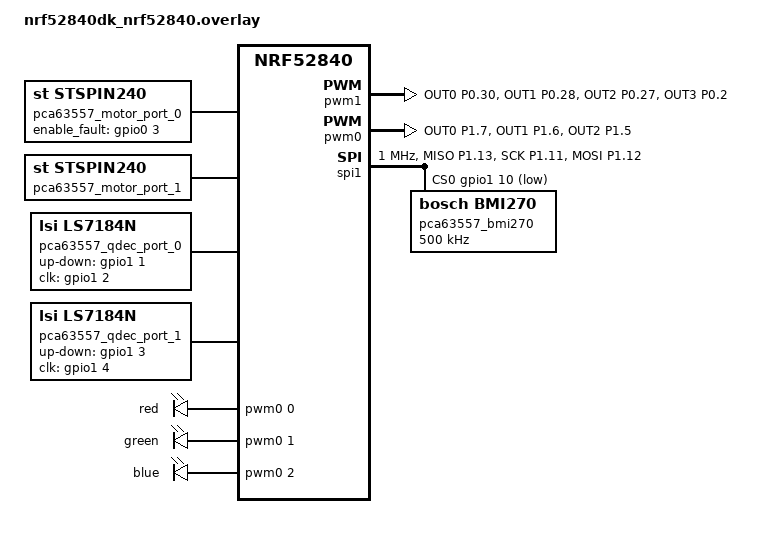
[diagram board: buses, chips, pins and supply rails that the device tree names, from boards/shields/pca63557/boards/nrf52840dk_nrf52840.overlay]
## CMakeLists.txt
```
#
# Copyright (c) 2019 Nordic Semiconductor
#
# SPDX-License-Identifier: LicenseRef-Nordic-5-Clause
#

cmake_minimum_required(VERSION 3.20.0)

if(EXISTS "${CMAKE_CURRENT_SOURCE_DIR}/dev_options.conf")
    message(WARNING "Using dev_options.conf. Ensure any critical settings are moved to prj.conf before committing to source control.")
    list(APPEND CONF_FILE "${CMAKE_CURRENT_SOURCE_DIR}/dev_options.conf")
endif()

list(APPEND BOARD_ROOT "${CMAKE_CURRENT_SOURCE_DIR}")
find_package(Zephyr REQUIRED HINTS $ENV{ZEPHYR_BASE})
project(robotics_shield_demo)

# Include application application event headers
zephyr_library_include_directories(src/events)

# NORDIC SDK APP START
target_sources(app PRIVATE 
    src/main.c
)

include_directories(
    src
)

add_subdirectory(drivers)
# NORDIC SDK APP END
```

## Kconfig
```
#
# Copyright (c) 2021 Nordic Semiconductor ASA
#
# SPDX-License-Identifier: LicenseRef-Nordic-5-Clause
#

menu "Robotics shield demo"

rsource "drivers/tb6612fng/Kconfig"
rsource "drivers/stspin240/Kconfig"
rsource "drivers/ls7184n/Kconfig"

endmenu

menu "Zephyr Kernel"
source "Kconfig.zephyr"
endmenu

module = APPLICATION_MODULE
module-str = Application module
source "subsys/logging/Kconfig.template.log_config"
```

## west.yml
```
manifest:
  version: "0.12"
  remotes:
      # nRF Connect SDK base URL.
    - name: ncs
      url-base: https://github.com/nrfconnect
  # The list of external projects for the nRF Connect SDK.
  #
  projects:
    - name: nrf
      remote: ncs
      repo-path: sdk-nrf
      revision: v2.3.0
      import: true

  self:
    path: robot_shield_demo
```

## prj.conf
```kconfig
#
# Copyright (c) 2019 Nordic Semiconductor ASA
#
# SPDX-License-Identifier: LicenseRef-Nordic-5-Clause
#


# Logger configuration
CONFIG_LOG=y
CONFIG_LOG_DEFAULT_LEVEL=4
CONFIG_LOG_BACKEND_UART=y
CONFIG_SENSOR_LOG_LEVEL_DBG=y
CONFIG_SPI=y

# Configuration required by Application Event Manager
CONFIG_APP_EVENT_MANAGER=y
# CONFIG_HEAP_MEM_POOL_SIZE=2048
# CONFIG_REBOOT=y

# Memory
CONFIG_MAIN_STACK_SIZE=4096
CONFIG_HEAP_MEM_POOL_SIZE=2048

# NewLib C
CONFIG_NEWLIB_LIBC=y

CONFIG_DEBUG_OPTIMIZATIONS=y
CONFIG_DEBUG_THREAD_INFO=y


# PWM
CONFIG_PWM=y
CONFIG_GPIO=y

# Motors
CONFIG_STSPIN240=y

# QDECs
CONFIG_LS7184N=y

# Leds
CONFIG_LED=y
CONFIG_LED_PWM=y

# BMI270 IMU 
CONFIG_SPI=y
CONFIG_SENSOR=y
CONFIG_BMI270=y


CONFIG_SETTINGS=y
CONFIG_HWINFO=y

CONFIG_SYSTEM_WORKQUEUE_STACK_SIZE=2048
CONFIG_FLASH=y
CONFIG_FLASH_MAP=y
CONFIG_NVS=y
CONFIG_SETTINGS=y
CONFIG_HWINFO=y
CONFIG_DK_LIBRARY=y
CONFIG_PARTITION_MANAGER_ENABLED=y
CONFIG_PM_SINGLE_IMAGE=y
CONFIG_PM_PARTITION_SIZE_SETTINGS_STORAGE=0x8000
CONFIG_PM_DEVICE=y
```

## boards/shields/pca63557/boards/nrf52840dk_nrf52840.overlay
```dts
&uart1 {
    status = "disabled";
};

&spi3 {
    status = "disabled";
};

&spi2 {
    status = "disabled";
};

&i2c0 {
    status = "disabled";
};

&i2c1 {
    status = "disabled";
};

&pinctrl {
    pwm1_default_alt: pwm1_default_alt {
        group1 {
            psels = <NRF_PSEL(PWM_OUT0, 0, 30)>,
                    <NRF_PSEL(PWM_OUT1, 0, 28)>,
                    <NRF_PSEL(PWM_OUT2, 0, 27)>,
                    <NRF_PSEL(PWM_OUT3, 0, 2)>;
        };
    };
    pwm1_sleep_alt: pwm1_sleep_alt {
        group1 {
            psels = <NRF_PSEL(PWM_OUT0, 0, 30)>,
                    <NRF_PSEL(PWM_OUT1, 0, 28)>,
                    <NRF_PSEL(PWM_OUT2, 0, 27)>,
                    <NRF_PSEL(PWM_OUT3, 0, 2)>;
            low-power-enable;
        };
    };

    pwm0_default_alt: pwm0_default_alt {
        group1 {
            psels = <NRF_PSEL(PWM_OUT0, 1, 7)>,
                    <NRF_PSEL(PWM_OUT1, 1, 6)>,
                    <NRF_PSEL(PWM_OUT2, 1, 5)>;
        };
    };
    pwm0_sleep_alt: pwm0_sleep_alt {
        group1 {
            psels = <NRF_PSEL(PWM_OUT0, 1, 7)>,
                    <NRF_PSEL(PWM_OUT1, 1, 6)>,
                    <NRF_PSEL(PWM_OUT2, 1, 5)>;
            low-power-enable;
        };
    };

    bmi270_bus_default: bmi270_bus_default {
            group1 {
                    psels = <NRF_PSEL(SPIM_MISO, 1, 13)>,
                                       <NRF_PSEL(SPIM_SCK, 1, 11)>,
                                       <NRF_PSEL(SPIM_MOSI, 1, 12)>;
            };
    };
    bmi270_bus_sleep: bmi270_bus_sleep {
            group1 {
                    psels = <NRF_PSEL(SPIM_MISO, 1, 13)>,
                                       <NRF_PSEL(SPIM_SCK, 1, 11)>,
                                       <NRF_PSEL(SPIM_MOSI, 1, 12)>;
                    low-power-enable;
            };
    };
};

&pwm1 {
    status = "okay";
    pinctrl-0 = <&pwm1_default_alt>;
    pinctrl-1 = <&pwm1_sleep_alt>;
    pinctrl-names = "default", "sleep";
};

&pwm0 {
    status = "okay";
    pinctrl-0 = <&pwm0_default_alt>;
    pinctrl-1 = <&pwm0_sleep_alt>;
    pinctrl-names = "default", "sleep";
};

/{
    pca63557_motor_port_0: pca63557_motor_port_0 {
        compatible = "st,stspin240";
        status = "okay";
        enable_fault-gpios = <&gpio0 3 0>;

        motor_a {
            compatible = "st,stspin240-motor";
            status = "okay";
            pwms = <&pwm1 0 PWM_HZ(50) PWM_POLARITY_NORMAL>;
            phase-gpios = <&gpio0 29 0>;
        };

        motor_b {
            compatible = "st,stspin240-motor";
            status = "okay";
            pwms = <&pwm1 1 PWM_HZ(50) PWM_POLARITY_NORMAL>;
            phase-gpios = <&gpio0 4 0>;
        };
    };

    pca63557_motor_port_1: pca63557_motor_port_1 {
        compatible = "st,stspin240";
        status = "okay";

        motor_a {
            compatible = "st,stspin240-motor";
            status = "okay";
            pwms = <&pwm1 2 PWM_HZ(50) PWM_POLARITY_NORMAL>;
            phase-gpios = <&gpio0 26 0>;
        };

        motor_b {
            compatible = "st,stspin240-motor";
            status = "okay";
            pwms = <&pwm1 3 PWM_HZ(50) PWM_POLARITY_NORMAL>;
            phase-gpios = <&gpio1 15 0>;
        };
    };

    pca63557_qdec_port_0: pca63557_qdec_port_0 {
        compatible = "lsi,ls7184n";
        status = "okay";
        up-down-gpios = <&gpio1 1 0>;
        clk-gpios = <&gpio1 2 0>;
    };

    pca63557_qdec_port_1: pca63557_qdec_port_1 {
        compatible = "lsi,ls7184n";
        status = "okay";
        up-down-gpios = <&gpio1 3 0>;
        clk-gpios = <&gpio1 4 0>;
    };

    pca63557_pwmleds: pca63557_pwmleds {
        compatible = "pwm-leds";
        red {
            pwms = <&pwm0 0 PWM_HZ(120) PWM_POLARITY_NORMAL>;
        };
        green {
            pwms = <&pwm0 1 PWM_HZ(120) PWM_POLARITY_NORMAL>;
        };
        blue {
            pwms = <&pwm0 2 PWM_HZ(120) PWM_POLARITY_NORMAL>;
        };
    };

};

&spi1 {
    // status = "disabled";
    status = "okay";
    cs-gpios = <&gpio1 10 GPIO_ACTIVE_LOW>;
    clock-frequency = <DT_FREQ_M(1)>;
    pinctrl-0 = <&bmi270_bus_default>;
    pinctrl-1 = <&bmi270_bus_sleep>;
    pinctrl-names = "default", "sleep";

    pca63557_bmi270: pca63557_bmi270@0 {
        compatible = "bosch,bmi270";
        reg = <0>;
        spi-max-frequency = <DT_FREQ_K(500)>; // 10 MHz
    };
};
```

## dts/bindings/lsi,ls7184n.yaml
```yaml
compatible: "lsi,ls7184n"
description: "Quadrature decoder"

include: "base.yaml"

properties:
  clk-gpios: 
    type: phandle-array
    required: true
  up-down-gpios: 
    type: phandle-array
    required: true
  resolution:
    type: int
    required: false
    description: |
      Resolution of the encoder. Can be set in code by setting SENSOR_ATTR_SAMPLING_FREQUENCY on the device in software. 
```

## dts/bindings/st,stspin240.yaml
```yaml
# Bindings for STMicroelectronics STSPIN240 dual brushed dc driver

compatible: "st,stspin240"
description: |
  Dual brushed DC motor driver. Expects all child nodes to be motors controled by the driver 
  (compatible = st,stspin240-motor).


include: "base.yaml"

properties:
  enable_fault-gpios: 
    type: phandle-array
    required: false
    description: "Enables the device when set high, indicates fault when pulled low by the driver IC"
  
  standby_reset-gpios:
    type: phandle-array
    required: false
    description: "Forces device into low consumption mode when forced low."
  
child-binding:
  compatible: "st,stspin240-motor"
  description: Brushed DC Motor driven by stspin240

  include: "base.yaml"

  properties:
    pwms:
      type: phandle-array
      required: true
      description: "Motor power pwm."
    
    phase-gpios:
      type: phandle-array
      required: true
      description: "Motor phase control pin. Used to set the direction of the motor."
```

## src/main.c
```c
/*
 * Copyright (c) 2019 Nordic Semiconductor ASA
 *
 * SPDX-License-Identifier: LicenseRef-Nordic-5-Clause
 */

#include <zephyr/device.h>
#include <zephyr/devicetree.h>
#include <zephyr/drivers/led.h>
#include <zephyr/drivers/sensor.h>
#include <zephyr/drivers/spi.h>
#include <zephyr/logging/log.h>

#include "../drivers/motors/motor_group.h"

#define MODULE main

LOG_MODULE_REGISTER(MODULE);

void main(void) {
    const struct device *motor_port_0_dev = DEVICE_DT_GET(DT_PATH(pca63557_motor_port_0));
    const struct device *motor_port_1_dev = DEVICE_DT_GET(DT_PATH(pca63557_motor_port_1));

    const struct device *rgb_led_dev = DEVICE_DT_GET(DT_PATH(pca63557_pwmleds));

    const struct device *imu_dev = DEVICE_DT_GET(DT_NODELABEL(pca63557_bmi270));

    if (!device_is_ready(motor_port_0_dev)) {
        LOG_ERR("Device %s is not ready", motor_port_0_dev->name);
        return;
    }

    if (!device_is_ready(motor_port_1_dev)) {
        LOG_ERR("Device %s is not ready", motor_port_1_dev->name);
        return;
    }

    if (!device_is_ready(rgb_led_dev)) {
        LOG_ERR("Device %s is not ready", rgb_led_dev->name);
        return;
    }

    bool imu_ready = device_is_ready(imu_dev);

    if (!imu_ready) {
        LOG_ERR("Device %s is not ready", imu_dev->name);
        return;
    }

    struct sensor_value full_scale, sampling_freq, oversampling;
    full_scale.val1 = 2;
    full_scale.val2 = 0;
    sampling_freq.val1 = 100;
    sampling_freq.val2 = 0;
    oversampling.val1 = 1;
    oversampling.val2 = 0;

    sensor_attr_set(imu_dev, SENSOR_CHAN_ACCEL_XYZ, SENSOR_ATTR_FULL_SCALE, &full_scale);
    sensor_attr_set(imu_dev, SENSOR_CHAN_ACCEL_XYZ, SENSOR_ATTR_OVERSAMPLING, &oversampling);
    sensor_attr_set(imu_dev, SENSOR_CHAN_ACCEL_XYZ, SENSOR_ATTR_SAMPLING_FREQUENCY, &sampling_freq);

    /* Setting scale in degrees/s to match the sensor scale */
    full_scale.val1 = 500; /* dps */
    full_scale.val2 = 0;
    sampling_freq.val1 = 100; /* Hz. Performance mode */
    sampling_freq.val2 = 0;
    oversampling.val1 = 1; /* Normal mode */
    oversampling.val2 = 0;

    sensor_attr_set(imu_dev, SENSOR_CHAN_GYRO_XYZ, SENSOR_ATTR_FULL_SCALE, &full_scale);
    sensor_attr_set(imu_dev, SENSOR_CHAN_GYRO_XYZ, SENSOR_ATTR_OVERSAMPLING, &oversampling);
    sensor_attr_set(imu_dev, SENSOR_CHAN_GYRO_XYZ, SENSOR_ATTR_SAMPLING_FREQUENCY, &sampling_freq);

    const struct device *qdec_0 = DEVICE_DT_GET(DT_PATH(pca63557_qdec_port_0));
    if (!device_is_ready(qdec_0)) {
        LOG_ERR("Device %s is not ready", qdec_0->name);
        return;
    }

    struct sensor_value ticks_per_rot = {.val1 = 576, .val2 = 0};
    sensor_attr_set(qdec_0, SENSOR_CHAN_ROTATION, SENSOR_ATTR_SAMPLING_FREQUENCY, &ticks_per_rot);


    led_on(rgb_led_dev, 0);

    LOG_DBG("Motor port 0 device is %p, name is %s, and it controls %d motors", motor_port_0_dev, motor_port_0_dev->name, motor_group_get_motor_count(motor_port_0_dev));

    motor_group_drive_all_continous(motor_port_0_dev, (struct motor_power_config){
                                                          .numerator = 0,
                                                          .denominator = 100,
                                                          .direction = MOTOR_DIRECTION_CLOCKWISE,
                                                      });

    motor_group_drive_all_continous(motor_port_1_dev, (struct motor_power_config){
                                                          .numerator = 0,
                                                          .denominator = 100,
                                                          .direction = MOTOR_DIRECTION_CLOCKWISE,
                                                      });

    while (true) {
        sensor_sample_fetch(imu_dev);
        struct sensor_value accel[3];
        sensor_channel_get(imu_dev, SENSOR_CHAN_ACCEL_XYZ, accel);
        struct sensor_value gyro[3];
        sensor_channel_get(imu_dev, SENSOR_CHAN_GYRO_XYZ, gyro);
        LOG_DBG("Accelerometer: %d.%06d, %d.%06d, %d.%06d", accel[0].val1, NRFX_ABS(accel[0].val2), accel[1].val1, NRFX_ABS(accel[1].val2), accel[2].val1, NRFX_ABS(accel[2].val2));
        LOG_DBG("Gyroscope: %d.%06d, %d.%06d, %d.%06d", gyro[0].val1, NRFX_ABS(gyro[0].val2), gyro[1].val1, NRFX_ABS(gyro[1].val2), gyro[2].val1, NRFX_ABS(gyro[2].val2));
        sensor_sample_fetch(qdec_0);
        struct sensor_value qdec_0_val;
        sensor_channel_get(qdec_0, SENSOR_CHAN_ROTATION, &qdec_0_val);
        LOG_DBG("QDEC 0: %d", qdec_0_val.val1);
        k_sleep(K_MSEC(500));
    }
}
```
